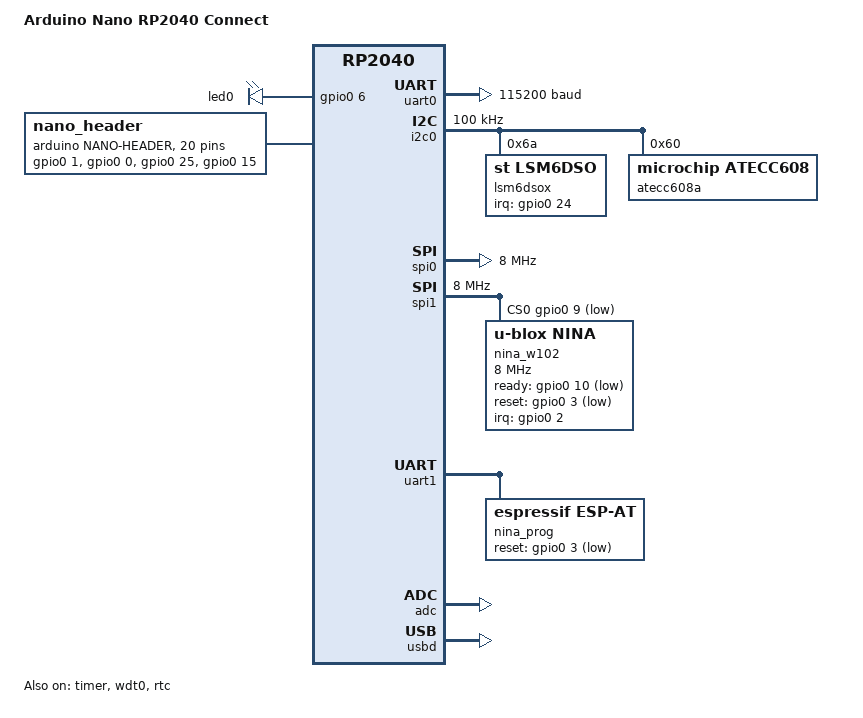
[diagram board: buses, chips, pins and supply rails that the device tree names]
/*
 * Copyright (c) Arduino s.r.l. and/or its affiliated companies
 *
 * SPDX-License-Identifier: Apache-2.0
 */

/dts-v1/;

#include <freq.h>
#include <raspberrypi/rpi_pico/rp2040.dtsi>
#include "arduino_nano_connect-pinctrl.dtsi"
#include <zephyr/dt-bindings/pwm/pwm.h>
#include <zephyr/dt-bindings/i2c/i2c.h>
#include <zephyr/dt-bindings/gpio/arduino-nano-header.h>

/ {
	model = "Arduino Nano RP2040 Connect";
	compatible = "arduino,nano-rp2040-connect";

	chosen {
		zephyr,sram = &sram0;
		zephyr,flash = &flash0;
		zephyr,flash-controller = &ssi;
		zephyr,console = &uart0;
		zephyr,shell-uart = &uart0;
		zephyr,code-partition = &code_partition;
	};

	aliases {
		led0 = &led0;
		rtc = &rtc;
		watchdog0 = &wdt0;
	};

	leds {
		compatible = "gpio-leds";

		led0: led_0 {
			/* Built-in LED on GPIO6 (accent LED, directly connected) */
			gpios = <&gpio0 6 GPIO_ACTIVE_HIGH>;
		};
	};

	/* Arduino Nano connector */
	nano_header: connector {
		compatible = "arduino,nano-header";
		#gpio-cells = <2>;
		gpio-map-mask = <0xffffffff 0xffffffc0>;
		gpio-map-pass-thru = <0 0x3f>;
		gpio-map = <ARDUINO_NANO_HEADER_D0 0 &gpio0 1 0>,	/* D0 - RX */
			   <ARDUINO_NANO_HEADER_D1 0 &gpio0 0 0>,       /* D1 - TX */
			   <ARDUINO_NANO_HEADER_D2 0 &gpio0 25 0>,      /* D2 */
			   <ARDUINO_NANO_HEADER_D3 0 &gpio0 15 0>,      /* D3 */
			   <ARDUINO_NANO_HEADER_D4 0 &gpio0 16 0>,      /* D4 */
			   <ARDUINO_NANO_HEADER_D5 0 &gpio0 17 0>,      /* D5 */
			   <ARDUINO_NANO_HEADER_D6 0 &gpio0 18 0>,      /* D6 */
			   <ARDUINO_NANO_HEADER_D7 0 &gpio0 19 0>,      /* D7 */
			   <ARDUINO_NANO_HEADER_D8 0 &gpio0 20 0>,      /* D8 */
			   <ARDUINO_NANO_HEADER_D9 0 &gpio0 21 0>,      /* D9 */
			   <ARDUINO_NANO_HEADER_D10 0 &gpio0 5 0>,      /* D10 - SS */
			   <ARDUINO_NANO_HEADER_D11 0 &gpio0 7 0>,      /* D11 - MOSI */
			   <ARDUINO_NANO_HEADER_D12 0 &gpio0 4 0>,      /* D12 - MISO */
			   <ARDUINO_NANO_HEADER_D13 0 &gpio0 6 0>,      /* D13 - SCK/LED */
			   <ARDUINO_NANO_HEADER_D14 0 &gpio0 26 0>,     /* A0 */
			   <ARDUINO_NANO_HEADER_D15 0 &gpio0 27 0>,     /* A1 */
			   <ARDUINO_NANO_HEADER_D16 0 &gpio0 28 0>,     /* A2 */
			   <ARDUINO_NANO_HEADER_D17 0 &gpio0 29 0>,     /* A3 */
			   <ARDUINO_NANO_HEADER_D18 0 &gpio0 12 0>,     /* A4 - SDA */
			   <ARDUINO_NANO_HEADER_D19 0 &gpio0 13 0>;     /* A5 - SCL */
	};
};

&ssi {
	ranges = <0x0 0x10000000 DT_SIZE_M(16)>;
};

&flash0 {
	/* 16MB flash */
	reg = <0x10000000 DT_SIZE_M(16)>;
	ranges = <0x0 0x0 DT_SIZE_M(16)>;

	partitions {
		ranges;
		#address-cells = <1>;
		#size-cells = <1>;

		/* Reserved memory for the second stage bootloader */
		second_stage_bootloader: partition@0 {
			compatible = "zephyr,mapped-partition";
			reg = <0x00000000 0x100>;
			read-only;
		};

		/*
		 * Usable flash. Starts at 0x100, after the bootloader. The partition
		 * size is 16MB minus the 0x100 bytes taken by the bootloader.
		 */
		code_partition: partition@100 {
			compatible = "zephyr,mapped-partition";
			reg = <0x100 (DT_SIZE_M(16) - 0x100)>;
			read-only;
		};
	};
};

&uart0 {
	current-speed = <115200>;
	status = "okay";
	pinctrl-0 = <&uart0_default>;
	pinctrl-names = "default";
};

&gpio0 {
	status = "okay";
};

&i2c0 {
	clock-frequency = <I2C_BITRATE_STANDARD>;
	status = "okay";
	pinctrl-0 = <&i2c0_default>;
	pinctrl-names = "default";

	/* LSM6DSOX IMU */
	lsm6dsox: lsm6dsox@6a {
		compatible = "st,lsm6dso";
		reg = <0x6a>;
		irq-gpios = <&gpio0 24 GPIO_ACTIVE_HIGH>;
	};

	/* ATECC608A Crypto */
	atecc608a: atecc608a@60 {
		compatible = "microchip,atecc608";
		reg = <0x60>;
	};
};

&spi0 {
	clock-frequency = <DT_FREQ_M(8)>;
	status = "okay";
	pinctrl-0 = <&spi0_default>;
	pinctrl-names = "default";
};

&spi1 {
	/* SPI to NINA WiFi module */
	clock-frequency = <DT_FREQ_M(8)>;
	pinctrl-0 = <&spi1_default>;
	pinctrl-names = "default";
	cs-gpios = <&gpio0 9 GPIO_ACTIVE_LOW>;

	nina_w102: nina_w102@0 {
		compatible = "u-blox,nina";
		reg = <0>;
		spi-max-frequency = <8000000>;
		ready-gpios = <&gpio0 10 (GPIO_PULL_UP | GPIO_ACTIVE_LOW)>;
		reset-gpios = <&gpio0 3 GPIO_ACTIVE_LOW>;
		irq-gpios = <&gpio0 2 GPIO_PULL_DOWN>;
	};
};

&uart1 {
	nina_prog: nina_prog {
		compatible = "espressif,esp-at";
		reset-gpios = <&gpio0 3 GPIO_ACTIVE_LOW>;
	};
};

&timer {
	status = "okay";
};

&wdt0 {
	status = "okay";
};

&rtc {
	clocks = <&clocks RPI_PICO_CLKID_CLK_RTC>;
	status = "okay";
};

&adc {
	status = "okay";
	pinctrl-0 = <&adc_default>;
	pinctrl-names = "default";
};

zephyr_udc0: &usbd {
	status = "okay";
};

&pwm {
	pinctrl-0 = <&pwm_ch3a_default>;
	pinctrl-names = "default";
};

&vreg {
	regulator-always-on;
	regulator-allowed-modes = <REGULATOR_RPI_PICO_MODE_NORMAL>;
};

/* Aliases for Arduino compatibility */
arduino_spi: &spi0 {};

arduino_i2c: &i2c0 {};

arduino_serial: &uart0 {};
